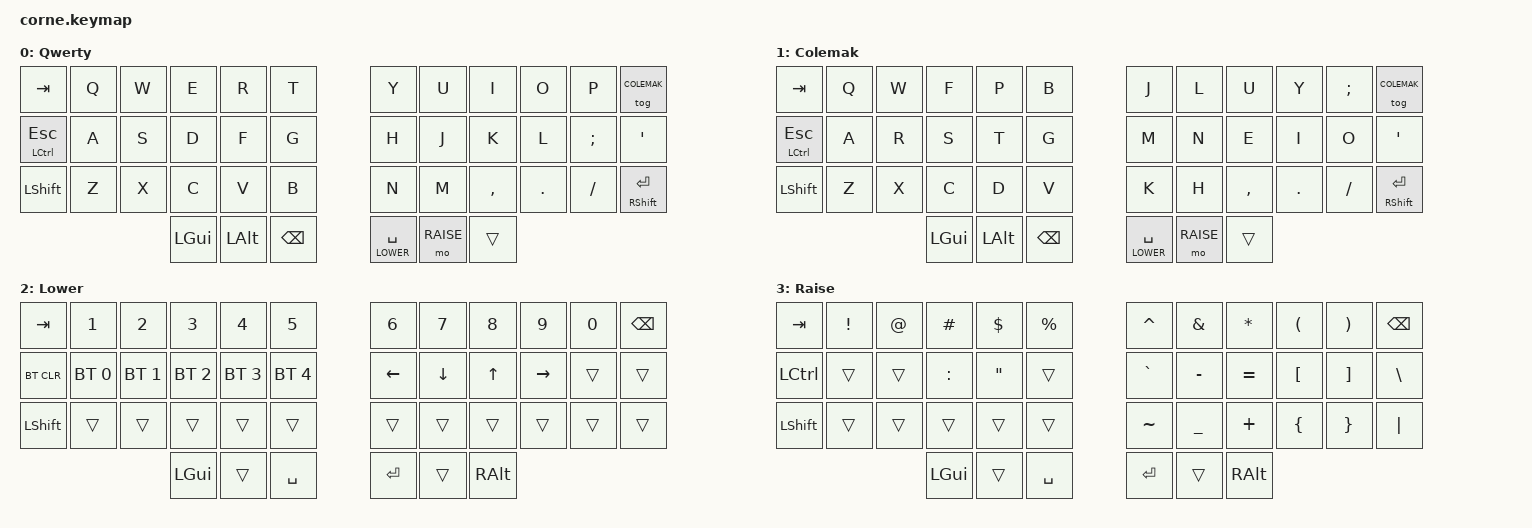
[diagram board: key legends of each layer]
/*
 * Copyright (c) 2020 The ZMK Contributors
 *
 * SPDX-License-Identifier: MIT
 */

#include <behaviors.dtsi>
#include <dt-bindings/zmk/keys.h>
#include <dt-bindings/zmk/bt.h>

#define QWERTY 0
#define COLEMAK 1
#define LOWER 2
#define RAISE 3

/ {
        keymap {
                compatible = "zmk,keymap";

                default_layer {
                        display-name = "Qwerty";
// -----------------------------------------------------------------------------------------
// |  TAB    |  Q  |  W  |  E  |  R  |  T  |   |  Y  |  U   |  I  |  O  |  P  |  COLEMAK  |
// | CT(ESC) |  A  |  S  |  D  |  F  |  G  |   |  H  |  J   |  K  |  L  |  ;  |     '     |
// | SHFT    |  Z  |  X  |  C  |  V  |  B  |   |  N  |  M   |  ,  |  .  |  /  | SHFT(ENT) |
//                       | GUI | ALT | BSPC|   |LWR(SPC)|RSE|     |
                        bindings = <
   &kp TAB       &kp Q &kp W &kp E &kp R &kp T   &kp Y &kp U  &kp I     &kp O   &kp P    &tog COLEMAK
   &mt LCTRL ESC &kp A &kp S &kp D &kp F &kp G   &kp H &kp J  &kp K     &kp L   &kp SEMI &kp SQT
   &kp LSHFT     &kp Z &kp X &kp C &kp V &kp B   &kp N &kp M  &kp COMMA &kp DOT &kp FSLH &mt RSHFT RET
                       &kp LGUI &kp LALT &kp BSPC &lt LOWER SPACE &mo RAISE &trans
                        >;
                };

                colemak_layer {
                        display-name = "Colemak";
// -----------------------------------------------------------------------------------------
// |  TAB    |  Q  |  W  |  F  |  P  |  B  |   |  J  |  L   |  U  |  Y  |  ;  |  QWERTY   |
// | CT(ESC) |  A  |  R  |  S  |  T  |  G  |   |  M  |  N   |  E  |  I  |  O  |     '     |
// | SHFT    |  Z  |  X  |  C  |  D  |  V  |   |  K  |  H   |  ,  |  .  |  /  | SHFT(ENT) |
//                       | GUI | ALT | BSPC|   |LWR(SPC)|RSE|     |
                        bindings = <
   &kp TAB       &kp Q &kp W &kp F &kp P &kp B   &kp J &kp L  &kp U     &kp Y   &kp SEMI &tog COLEMAK
   &mt LCTRL ESC &kp A &kp R &kp S &kp T &kp G   &kp M &kp N  &kp E     &kp I   &kp O    &kp SQT
   &kp LSHFT     &kp Z &kp X &kp C &kp D &kp V   &kp K &kp H  &kp COMMA &kp DOT &kp FSLH &mt RSHIFT RET
                       &kp LGUI &kp LALT &kp BSPC &lt LOWER SPACE &mo RAISE &trans
                        >;
                };

                lower_layer {
                        display-name = "Lower";
// -----------------------------------------------------------------------------------------
// |  TAB |  1  |  2  |  3  |  4  |  5  |   |  6  |  7  |  8  |  9  |  0  | BSPC |
// | BTCLR| BT1 | BT2 | BT3 | BT4 | BT5 |   | LFT | DWN |  UP | RGT |     |      |
// | SHFT |     |     |     |     |     |   |     |     |     |     |     |      |
//                    | GUI | ALT | BSPC|   |LWR(SPC)|RSE|MOUSE|
                        bindings = <
   &kp TAB    &kp N1       &kp N2       &kp N3       &kp N4       &kp N5         &kp N6   &kp N7   &kp N8 &kp N9    &kp N0 &kp BSPC
   &bt BT_CLR &bt BT_SEL 0 &bt BT_SEL 1 &bt BT_SEL 2 &bt BT_SEL 3 &bt BT_SEL 4   &kp LEFT &kp DOWN &kp UP &kp RIGHT &trans &trans
   &kp LSHFT  &trans       &trans       &trans       &trans       &trans         &trans   &trans   &trans &trans    &trans &trans
                                    &kp LGUI     &trans       &kp SPACE      &kp RET  &trans   &kp RALT
                        >;
                };

                raise_layer {
                        display-name = "Raise";
// -----------------------------------------------------------------------------------------
// |  TAB |  !  |  @  |  #  |  $  |  %  |   |  ^  |  &  |  *  |  (  |  )  | BSPC |
// | CTRL |     |     |  :  |  "  |     |   |  `  |  -  |  =  |  [  |  ]  |  \   |
// | SHFT |     |     |     |     |     |   |  ~  |  _  |  +  |  {  |  }  | "|"  |
//                    | GUI | ALT | BSPC|   |LWR(SPC)|RSE|MOUSE|
                        bindings = <
   &kp  TAB  &kp EXCL &kp AT &kp HASH  &kp DLLR &kp PRCNT   &kp CARET &kp AMPS  &kp ASTRK &kp LPAR &kp RPAR &kp BSPC
   &kp LCTRL &trans   &trans &kp COLON &kp DQT  &trans      &kp GRAVE &kp MINUS &kp EQUAL &kp LBKT  &kp RBKT &kp BSLH
   &kp LSHFT &trans   &trans &trans    &trans   &trans      &kp TILDE &kp UNDER &kp PLUS  &kp LBRC  &kp RBRC &kp PIPE
                             &kp LGUI  &trans   &kp SPACE   &kp RET   &trans    &kp RALT
                        >;
                };
        };
};
